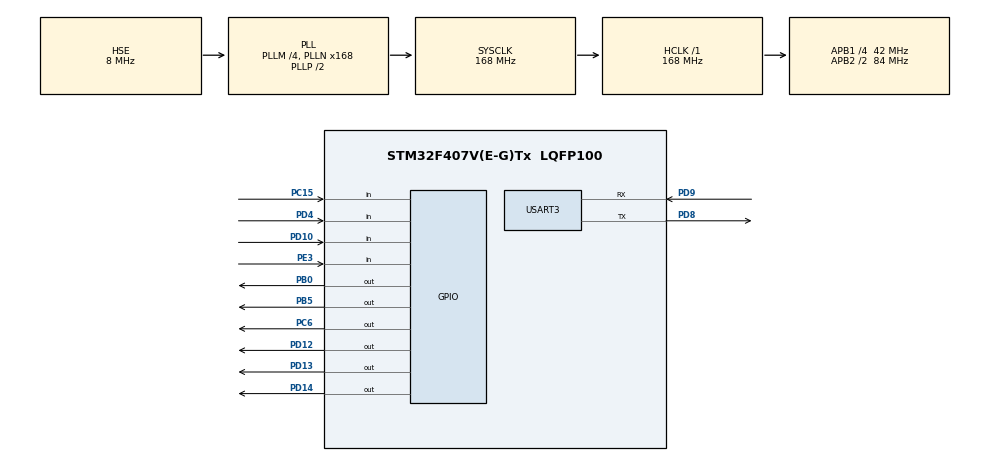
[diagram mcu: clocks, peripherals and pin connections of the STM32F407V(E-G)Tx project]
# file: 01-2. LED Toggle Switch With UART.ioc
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Mcu.Family=STM32F4
Mcu.Name=STM32F407V(E-G)Tx
Mcu.Package=LQFP100
NVIC.PriorityGroup=NVIC_PRIORITYGROUP_4
NVIC.USART3_IRQn=true\:0\:0\:false\:true\:true\:1\:true\:true\:true
PB0.Signal=GPIO_Output
PB5.Signal=GPIO_Output
PC15-OSC32_OUT.Signal=GPIO_Input
PC6.Signal=GPIO_Output
PD10.Signal=GPIO_Input
PD12.Signal=GPIO_Output
PD13.Signal=GPIO_Output
PD14.Signal=GPIO_Output
PD4.Signal=GPIO_Input
PD8.Mode=Asynchronous
PD8.Signal=USART3_TX
PD9.Mode=Asynchronous
PD9.Signal=USART3_RX
PE3.Signal=GPIO_Input
PH0-OSC_IN.Mode=HSE-External-Oscillator
PH0-OSC_IN.Signal=RCC_OSC_IN
PH1-OSC_OUT.Mode=HSE-External-Oscillator
PH1-OSC_OUT.Signal=RCC_OSC_OUT
ProjectManager.HeapSize=0x200
ProjectManager.StackSize=0x400
ProjectManager.TargetToolchain=STM32CubeIDE
RCC.48MHZClocksFreq_Value=84000000
RCC.AHBFreq_Value=168000000
RCC.APB1CLKDivider=RCC_HCLK_DIV4
RCC.APB1Freq_Value=42000000
RCC.APB1TimFreq_Value=84000000
RCC.APB2CLKDivider=RCC_HCLK_DIV2
RCC.APB2Freq_Value=84000000
RCC.APB2TimFreq_Value=168000000
RCC.CortexFreq_Value=168000000
RCC.HCLKFreq_Value=168000000
RCC.HSE_VALUE=8000000
RCC.HSI_VALUE=16000000
RCC.LSE_VALUE=32768
RCC.PLLM=4
RCC.PLLN=168
RCC.PLLSourceVirtual=RCC_PLLSOURCE_HSE
RCC.SYSCLKFreq_VALUE=168000000
RCC.SYSCLKSource=RCC_SYSCLKSOURCE_PLLCLK
RCC.VCOOutputFreq_Value=336000000
USART3.VirtualMode=VM_ASYNC
board=custom

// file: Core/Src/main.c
/* USER CODE BEGIN Header */
/**
  ******************************************************************************
  * @file           : main.c
  * @brief          : Main program body
  ******************************************************************************
  * @attention
  *
  * Copyright (c) 2025 STMicroelectronics.
  * All rights reserved.
  *
  * This software is licensed under terms that can be found in the LICENSE file
  * in the root directory of this software component.
  * If no LICENSE file comes with this software, it is provided AS-IS.
  *
  ******************************************************************************
  */
/* USER CODE END Header */
#include "main.h"
#include "usart.h"
#include "gpio.h"

/* USER CODE BEGIN PTD */
typedef enum {
    LEFT_LED_CTRL = 0,
	RIGHT_LED_CTRL
}LED_Ctrl_Mode;
/* USER CODE END PTD */

/* USER CODE BEGIN PV */
GPIO_PinState Prev_SW1_State = GPIO_PIN_RESET;
GPIO_PinState Prev_SW2_State = GPIO_PIN_RESET;
GPIO_PinState Prev_SW3_State = GPIO_PIN_RESET;
GPIO_PinState Prev_SW4_State = GPIO_PIN_RESET;

GPIO_PinState Curr_SW1_State = GPIO_PIN_RESET;
GPIO_PinState Curr_SW2_State = GPIO_PIN_RESET;
GPIO_PinState Curr_SW3_State = GPIO_PIN_RESET;
GPIO_PinState Curr_SW4_State = GPIO_PIN_RESET;

GPIO_PinState Pin_State = GPIO_PIN_RESET;;

LED_Ctrl_Mode Mode = LEFT_LED_CTRL;

uint8_t uart3_rx_data;
uint8_t uart3_rx_flag;
/* USER CODE END PV */

void SystemClock_Config(void);
static void MX_NVIC_Init(void);

int main(void)
{

  /* MCU Configuration--------------------------------------------------------*/

  /* Reset of all peripherals, Initializes the Flash interface and the Systick. */
  HAL_Init();

  /* Configure the system clock */
  SystemClock_Config();

  /* Initialize all configured peripherals */
  MX_GPIO_Init();
  MX_USART3_UART_Init();

  /* Initialize interrupts */
  MX_NVIC_Init();
  /* USER CODE BEGIN 2 */
  HAL_GPIO_WritePin(GPIOD, GPIO_PIN_12, GPIO_PIN_SET);
  HAL_GPIO_WritePin(GPIOD, GPIO_PIN_13, GPIO_PIN_SET);
  HAL_GPIO_WritePin(GPIOD, GPIO_PIN_14, GPIO_PIN_SET);

  HAL_GPIO_WritePin(GPIOC, GPIO_PIN_6, GPIO_PIN_SET);
  HAL_GPIO_WritePin(GPIOB, GPIO_PIN_5, GPIO_PIN_SET);
  HAL_GPIO_WritePin(GPIOB, GPIO_PIN_0, GPIO_PIN_SET);

  HAL_UART_Receive_IT(&huart3, &uart3_rx_data, sizeof(uart3_rx_data));
  /* USER CODE END 2 */

  /* Infinite loop */
  /* USER CODE BEGIN WHILE */
  while (1)
  {
	  Curr_SW1_State =  HAL_GPIO_ReadPin(GPIOE, GPIO_PIN_3);
	  if ((Prev_SW1_State == GPIO_PIN_RESET && Curr_SW1_State == GPIO_PIN_SET) || uart3_rx_data == '1')
	  {
		  uart3_rx_data = 0;
		  GPIO_TypeDef *targetPort = (Mode == LEFT_LED_CTRL) ? GPIOD : GPIOC;
		  uint16_t targetPin = (Mode == LEFT_LED_CTRL) ? GPIO_PIN_12 : GPIO_PIN_6;

		  Pin_State = HAL_GPIO_ReadPin(targetPort, targetPin);
		  HAL_GPIO_WritePin(targetPort, targetPin, (GPIO_PinState)(!Pin_State));
	  }
	  Prev_SW1_State = Curr_SW1_State;

	  Curr_SW2_State =  HAL_GPIO_ReadPin(GPIOC, GPIO_PIN_15);
	  if ((Prev_SW2_State == GPIO_PIN_RESET && Curr_SW2_State == GPIO_PIN_SET) || uart3_rx_data == '2')
	  {
		  uart3_rx_data = 0;
		  GPIO_TypeDef *targetPort = (Mode == LEFT_LED_CTRL) ? GPIOD : GPIOB;
		  uint16_t targetPin = (Mode == LEFT_LED_CTRL) ? GPIO_PIN_13 : GPIO_PIN_5;

		  Pin_State = HAL_GPIO_ReadPin(targetPort, targetPin);
		  HAL_GPIO_WritePin(targetPort, targetPin, (GPIO_PinState)(!Pin_State));
	  }
	  Prev_SW2_State = Curr_SW2_State;

	  Curr_SW3_State =  HAL_GPIO_ReadPin(GPIOD, GPIO_PIN_4);
	  if ((Prev_SW3_State == GPIO_PIN_RESET && Curr_SW3_State == GPIO_PIN_SET) || uart3_rx_data == '3')
	  {
		  uart3_rx_data = 0;
		  GPIO_TypeDef *targetPort = (Mode == LEFT_LED_CTRL) ? GPIOD : GPIOB;
		  uint16_t targetPin = (Mode == LEFT_LED_CTRL) ? GPIO_PIN_14 : GPIO_PIN_0;

		  Pin_State = HAL_GPIO_ReadPin(targetPort, targetPin);
		  HAL_GPIO_WritePin(targetPort, targetPin, (GPIO_PinState)(!Pin_State));
	  }
	  Prev_SW3_State = Curr_SW3_State;

	  Curr_SW4_State =  HAL_GPIO_ReadPin(GPIOD, GPIO_PIN_10);
	  if((Prev_SW4_State == GPIO_PIN_RESET && Curr_SW4_State == GPIO_PIN_SET) || uart3_rx_data == '4')
	  {
		  uart3_rx_data = 0;
		  Mode = (LED_Ctrl_Mode)(!Mode);
	  }
	  Prev_SW4_State = Curr_SW4_State;
    /* USER CODE END WHILE */

  }
}

void SystemClock_Config(void)
{
  RCC_OscInitTypeDef RCC_OscInitStruct = {0};
  RCC_ClkInitTypeDef RCC_ClkInitStruct = {0};

  /** Configure the main internal regulator output voltage
  */
  __HAL_RCC_PWR_CLK_ENABLE();
  __HAL_PWR_VOLTAGESCALING_CONFIG(PWR_REGULATOR_VOLTAGE_SCALE1);

  /** Initializes the RCC Oscillators according to the specified parameters
  * in the RCC_OscInitTypeDef structure.
  */
  RCC_OscInitStruct.OscillatorType = RCC_OSCILLATORTYPE_HSE;
  RCC_OscInitStruct.HSEState = RCC_HSE_ON;
  RCC_OscInitStruct.PLL.PLLState = RCC_PLL_ON;
  RCC_OscInitStruct.PLL.PLLSource = RCC_PLLSOURCE_HSE;
  RCC_OscInitStruct.PLL.PLLM = 4;
  RCC_OscInitStruct.PLL.PLLN = 168;
  RCC_OscInitStruct.PLL.PLLP = RCC_PLLP_DIV2;
  RCC_OscInitStruct.PLL.PLLQ = 4;
  if (HAL_RCC_OscConfig(&RCC_OscInitStruct) != HAL_OK)
  {
    Error_Handler();
  }

  /** Initializes the CPU, AHB and APB buses clocks
  */
  RCC_ClkInitStruct.ClockType = RCC_CLOCKTYPE_HCLK|RCC_CLOCKTYPE_SYSCLK
                              |RCC_CLOCKTYPE_PCLK1|RCC_CLOCKTYPE_PCLK2;
  RCC_ClkInitStruct.SYSCLKSource = RCC_SYSCLKSOURCE_PLLCLK;
  RCC_ClkInitStruct.AHBCLKDivider = RCC_SYSCLK_DIV1;
  RCC_ClkInitStruct.APB1CLKDivider = RCC_HCLK_DIV4;
  RCC_ClkInitStruct.APB2CLKDivider = RCC_HCLK_DIV2;

  if (HAL_RCC_ClockConfig(&RCC_ClkInitStruct, FLASH_LATENCY_5) != HAL_OK)
  {
    Error_Handler();
  }
}

/**
  * @brief NVIC Configuration.
  * @retval None
  */
static void MX_NVIC_Init(void)
{
  /* USART3_IRQn interrupt configuration */
  HAL_NVIC_SetPriority(USART3_IRQn, 0, 0);
  HAL_NVIC_EnableIRQ(USART3_IRQn);
}

/* USER CODE BEGIN 4 */
void HAL_UART_RxCpltCallback(UART_HandleTypeDef *huart)
{
	if(huart->Instance == USART3)
	{
		HAL_UART_Receive_IT(&huart3, &uart3_rx_data, sizeof(uart3_rx_data));
		uart3_rx_flag = 1;
	}
}
/* USER CODE END 4 */

void Error_Handler(void)
{
  __disable_irq();
  while (1)
  {
  }
}
